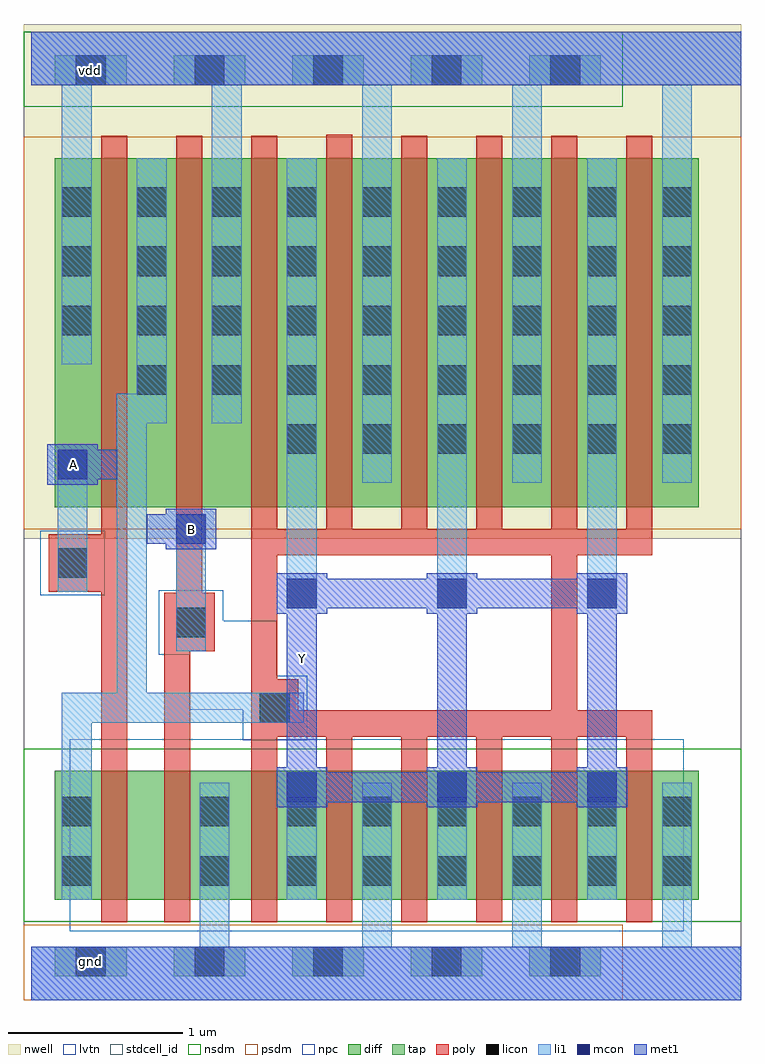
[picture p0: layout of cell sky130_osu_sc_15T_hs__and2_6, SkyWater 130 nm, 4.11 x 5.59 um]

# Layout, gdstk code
import gdstk
lib = gdstk.Library(unit=1e-6, precision=1e-09)
def R(c, l, rs):  # rectangles x0, y0, x1, y1
    for r in rs: c.add(gdstk.rectangle(r[:2], r[2:], *l))
def A(c, l, x, y, w, h, nx, ny, dx, dy):  # array of equal rectangles
    R(c, l, [(x+i*dx, y+j*dy, x+i*dx+w, y+j*dy+h) for i in range(nx) for j in range(ny)])
nwell = (64, 20)
diff = (65, 20)
tap = (65, 44)
poly = (66, 20)
licon = (66, 44)
li1 = (67, 20)
mcon = (67, 44)
met1 = (68, 20)
stdcell_id = (81, 4)
nsdm = (93, 44)
psdm = (94, 20)
npc = (95, 20)
lvtn = (125, 44)

sky130_osu_sc_15t_hs__an = lib.new_cell('sky130_osu_sc_15T_hs__and2_6')
R(sky130_osu_sc_15t_hs__an, nwell, [(-0.045,2.645,4.07,5.595)])
R(sky130_osu_sc_15t_hs__an, diff, [(0.135,0.575,3.825,1.315), (0.135,2.825,3.825,4.825)])
A(sky130_osu_sc_15t_hs__an, tap, 0.135, 0.135, 0.41, 0.17, 5, 2, 0.68, 5.11)
A(sky130_osu_sc_15t_hs__an, poly, 1.26, 0.445, 0.15, 1.065, 6, 1, 0.43, 0)
A(sky130_osu_sc_15t_hs__an, poly, 2.12, 2.7, 0.15, 2.255, 4, 1, 0.43, 0)
R(sky130_osu_sc_15t_hs__an, poly, [(0.4,0.445,0.55,2.34), (0.76,0.445,0.91,2), (1.26,1.51,3.56,1.66), (1.26,1.66,1.53,1.84), (2.98,1.66,3.13,2.55), (1.26,1.84,1.41,2.55), (0.76,2,1.05,2.335), (0.83,2.335,0.98,4.955), (0.1,2.34,0.55,2.67), (1.26,2.55,3.56,2.7), (0.4,2.67,0.55,4.955), (1.26,2.7,1.41,4.955), (1.69,2.7,1.84,4.96)])
A(sky130_osu_sc_15t_hs__an, licon, 0.255, 0.135, 0.17, 0.17, 5, 2, 0.68, 5.11)
A(sky130_osu_sc_15t_hs__an, licon, 1.465, 0.655, 0.17, 0.17, 6, 2, 0.43, 0.34)
A(sky130_osu_sc_15t_hs__an, licon, 1.465, 3.13, 0.17, 0.17, 6, 1, 0.43, 0)
A(sky130_osu_sc_15t_hs__an, licon, 0.605, 3.47, 0.17, 0.17, 8, 1, 0.43, 0)
A(sky130_osu_sc_15t_hs__an, licon, 0.175, 3.81, 0.17, 0.17, 9, 3, 0.43, 0.34)
R(sky130_osu_sc_15t_hs__an, licon, [(0.175,0.655,0.345,0.825), (0.965,0.655,1.135,0.825), (0.175,0.995,0.345,1.165), (0.965,0.995,1.135,1.165), (1.31,1.59,1.48,1.76), (0.83,2.08,1,2.25), (0.15,2.42,0.32,2.59)])
A(sky130_osu_sc_15t_hs__an, li1, 1.895, 0.305, 0.17, 0.94, 3, 1, 0.86, 0)
A(sky130_osu_sc_15t_hs__an, li1, 1.465, 0.575, 0.17, 0.73, 3, 1, 0.86, 0)
A(sky130_osu_sc_15t_hs__an, li1, 1.465, 2.245, 0.17, 2.58, 3, 1, 0.86, 0)
A(sky130_osu_sc_15t_hs__an, li1, 1.895, 2.965, 0.17, 2.28, 3, 1, 0.86, 0)
R(sky130_osu_sc_15t_hs__an, li1, [(0,0,4.07,0.305), (0.965,0.305,1.135,1.245), (0.175,0.575,0.345,1.59), (0.175,1.59,1.56,1.76), (0.49,1.76,0.66,3.305), (0.83,2,1,2.785), (0.15,2.34,0.32,3.155), (0.49,3.305,0.775,3.475), (1.035,3.305,1.205,5.245), (0.605,3.475,0.775,4.825), (0.175,3.645,0.345,5.245), (0,5.245,4.07,5.55)])
A(sky130_osu_sc_15t_hs__an, mcon, 1.465, 1.135, 0.17, 0.17, 3, 2, 0.86, 1.11)
R(sky130_osu_sc_15t_hs__an, mcon, [(0.83,2.615,1,2.785), (0.15,2.985,0.32,3.155)])
A(sky130_osu_sc_15t_hs__an, met1, 1.405, 1.105, 0.29, 0.03, 3, 2, 0.86, 0.2)
A(sky130_osu_sc_15t_hs__an, met1, 1.465, 1.335, 0.17, 0.88, 3, 1, 0.86, 0)
A(sky130_osu_sc_15t_hs__an, met1, 1.405, 2.215, 0.29, 0.03, 3, 2, 0.86, 0.2)
R(sky130_osu_sc_15t_hs__an, met1, [(0,0,4.07,0.305), (1.405,1.135,3.415,1.305), (1.405,2.245,3.415,2.415), (0.77,2.585,1.06,2.615), (0.66,2.615,1.06,2.785), (0.77,2.785,1.06,2.815), (0.09,2.955,0.38,2.985), (0.09,2.985,0.49,3.155), (0.09,3.155,0.38,3.185), (0,5.245,4.07,5.55)])
R(sky130_osu_sc_15t_hs__an, stdcell_id, [(-0.045,0,4.07,5.55)])
R(sky130_osu_sc_15t_hs__an, nsdm, [(-0.045,0.45,4.07,1.44), (-0.045,5.12,3.39,5.55)])
R(sky130_osu_sc_15t_hs__an, psdm, [(-0.045,0,3.39,0.43), (-0.045,2.7,4.07,4.95)])
R(sky130_osu_sc_15t_hs__an, npc, [(1.21,1.49,1.58,1.665), (0.905,1.665,1.58,1.86), (0.905,1.86,1.405,1.98), (0.73,1.98,1.405,2.175), (0.73,2.175,1.1,2.35), (0.05,2.32,0.42,2.69)])
R(sky130_osu_sc_15t_hs__an, lvtn, [(0.22,0.395,3.74,1.495)])
sky130_osu_sc_15t_hs__an.add(gdstk.Label('gnd', (0.34,0.22), layer=68, texttype=16))
sky130_osu_sc_15t_hs__an.add(gdstk.Label('vdd', (0.34,5.33), layer=68, texttype=16))
sky130_osu_sc_15t_hs__an.add(gdstk.Label('B', (0.92,2.7), layer=68, texttype=5))
sky130_osu_sc_15t_hs__an.add(gdstk.Label('A', (0.24,3.07), layer=68, texttype=5))
sky130_osu_sc_15t_hs__an.add(gdstk.Label('Y', (1.555,1.96), layer=68, texttype=5))

lib.write_gds('sky130_osu_sc_15T_hs__and2_6.gds')
